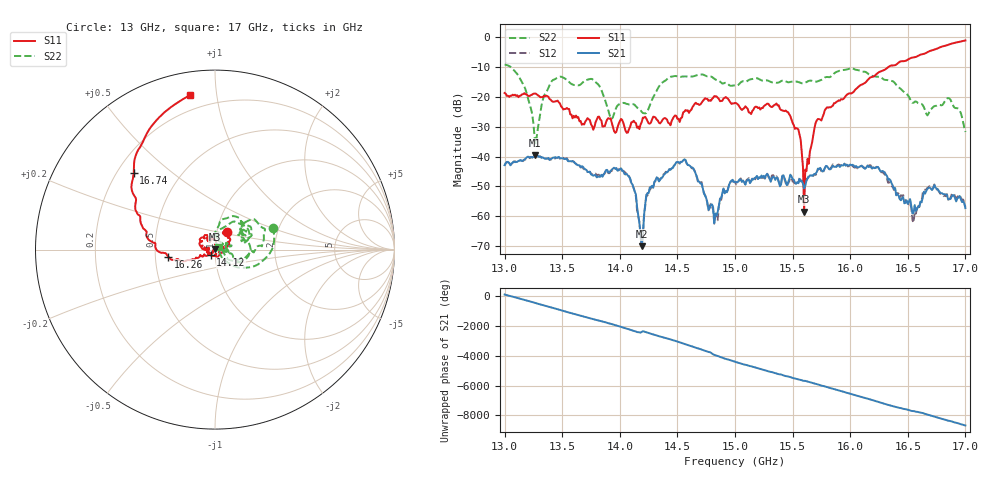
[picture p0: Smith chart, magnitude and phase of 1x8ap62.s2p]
!Keysight Technologies,P9374A,MY57211807,A.19.30.04
!Date: Friday, May 08, 2026 15:01:58
!Correction: S11(C  2-Port  )
!S21(C  2-Port  )
!S12(C  2-Port  )
!S22(C  2-Port  )
!S2P File: Measurements: S11, S21, S12, S22:
# Hz S  dB  R 50
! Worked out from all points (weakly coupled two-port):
!   401 points, 13 GHz to 17 GHz, reference 50 ohm
!   highest |S21| = -39.53 dB at 13.26 GHz (marker M1); lowest = -70.0 dB at 14.19 GHz (marker M2)
!   lowest |S11| = -58.5 dB at 15.6 GHz (marker M3), VSWR 1.00, Z = 50.1 + j0.102 ohm
!   |S11| at or under -10 dB: start of sweep to 16.33 GHz
!   |S22| runs from -35.9 to -9.3 dB; largest |S21 - S12| = 0.00067
!   S11 on the Smith chart (normalised r, x): 13 GHz: 1.12, +0.22; 14.12 GHz: 0.95, -0.06; 16.26 GHz: 0.59, -0.05; 16.74 GHz: 0.27, +0.37; 17 GHz: 0.12, +0.85
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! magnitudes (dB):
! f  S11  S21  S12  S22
! 13 GHz  -18.7  -42.9  -43.0  -9.3
! 13.17 GHz  -18.8  -41.1  -41.1  -16.5
! 13.26 GHz  -19.0  -39.5  -39.5  -33.4
! 13.42 GHz  -21.7  -40.3  -40.6  -14.4
! 13.67 GHz  -29.4  -43.3  -43.5  -15.5
! 13.93 GHz  -28.6  -44.4  -44.8  -27.5
! 14.12 GHz  -28.0  -50.5  -50.5  -22.5
! 14.19 GHz  -28.5  -70.0  -69.3  -25.1
! 14.25 GHz  -28.9  -52.3  -52.4  -23.9
! 14.34 GHz  -28.7  -48.3  -48.1  -16.6
! 14.57 GHz  -24.5  -41.1  -41.3  -13.2
! 14.83 GHz  -19.8  -59.1  -59.7  -14.3
! 15 GHz  -22.1  -48.4  -48.5  -16.2
! 15.46 GHz  -25.2  -48.7  -49.2  -15.2
! 15.55 GHz  -31.0  -48.9  -48.8  -15.1
! 15.6 GHz  -58.5  -50.7  -49.8  -15.4
! 15.67 GHz  -35.2  -46.4  -46.3  -14.7
! 16.26 GHz  -11.6  -44.9  -45.1  -13.4
! 16.34 GHz  -9.8  -47.5  -48.6  -14.6
! 16.55 GHz  -6.8  -58.9  -62.2  -22.0
! 16.74 GHz  -4.1  -50.4  -50.3  -23.1
! 17 GHz  -1.2  -57.3  -56.9  -31.8
